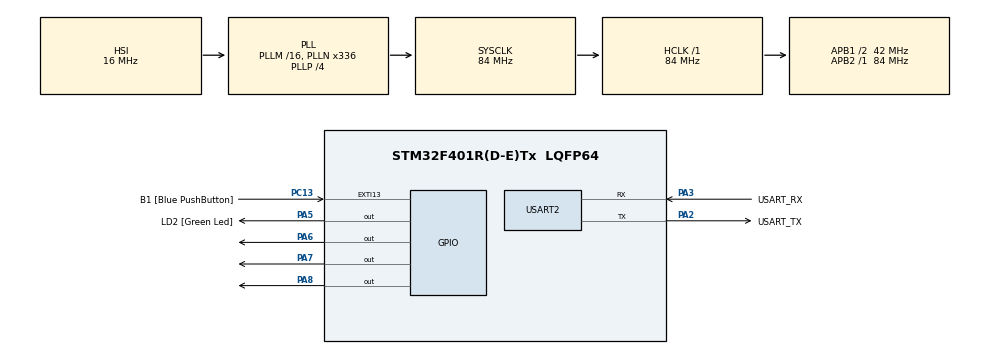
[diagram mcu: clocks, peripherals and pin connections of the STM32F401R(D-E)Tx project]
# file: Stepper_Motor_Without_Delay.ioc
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Mcu.Family=STM32F4
Mcu.Name=STM32F401R(D-E)Tx
Mcu.Package=LQFP64
NVIC.PriorityGroup=NVIC_PRIORITYGROUP_4
PA13.GPIO_Label=TMS
PA13.Mode=Trace_Asynchronous_SW
PA13.Signal=SYS_JTMS-SWDIO
PA14.GPIO_Label=TCK
PA14.Mode=Trace_Asynchronous_SW
PA14.Signal=SYS_JTCK-SWCLK
PA2.GPIO_Label=USART_TX
PA2.GPIO_Mode=GPIO_MODE_AF_PP
PA2.GPIO_PuPd=GPIO_NOPULL
PA2.GPIO_Speed=GPIO_SPEED_FREQ_LOW
PA2.Mode=Asynchronous
PA2.Signal=USART2_TX
PA3.GPIO_Label=USART_RX
PA3.GPIO_Mode=GPIO_MODE_AF_PP
PA3.GPIO_PuPd=GPIO_NOPULL
PA3.GPIO_Speed=GPIO_SPEED_FREQ_LOW
PA3.Mode=Asynchronous
PA3.Signal=USART2_RX
PA5.GPIO_Label=LD2 [Green Led]
PA5.GPIO_Mode=GPIO_MODE_OUTPUT_PP
PA5.GPIO_PuPd=GPIO_NOPULL
PA5.GPIO_Speed=GPIO_SPEED_FREQ_LOW
PA5.Signal=GPIO_Output
PA6.Signal=GPIO_Output
PA7.Signal=GPIO_Output
PA8.Signal=GPIO_Output
PB3.GPIO_Label=SWO
PB3.Mode=Trace_Asynchronous_SW
PB3.Signal=SYS_JTDO-SWO
PC13-ANTI_TAMP.GPIO_Label=B1 [Blue PushButton]
PC13-ANTI_TAMP.GPIO_ModeDefaultEXTI=GPIO_MODE_IT_FALLING
PC13-ANTI_TAMP.GPIO_PuPd=GPIO_NOPULL
PC13-ANTI_TAMP.Signal=GPXTI13
PC14-OSC32_IN.Mode=LSE-External-Oscillator
PC14-OSC32_IN.Signal=RCC_OSC32_IN
PC15-OSC32_OUT.Mode=LSE-External-Oscillator
PC15-OSC32_OUT.Signal=RCC_OSC32_OUT
PH0\ -\ OSC_IN.Mode=HSE-External-Clock-Source
PH0\ -\ OSC_IN.Signal=RCC_OSC_IN
PH1\ -\ OSC_OUT.Mode=HSE-External-Clock-Source
PH1\ -\ OSC_OUT.Signal=RCC_OSC_OUT
ProjectManager.HeapSize=0x200
ProjectManager.StackSize=0x400
ProjectManager.TargetToolchain=STM32CubeIDE
RCC.48MHZClocksFreq_Value=48000000
RCC.AHBFreq_Value=84000000
RCC.APB1CLKDivider=RCC_HCLK_DIV2
RCC.APB1Freq_Value=42000000
RCC.APB1TimFreq_Value=84000000
RCC.APB2Freq_Value=84000000
RCC.APB2TimFreq_Value=84000000
RCC.CortexFreq_Value=84000000
RCC.HCLKFreq_Value=84000000
RCC.HSE_VALUE=8000000
RCC.HSI_VALUE=16000000
RCC.PLLN=336
RCC.PLLP=RCC_PLLP_DIV4
RCC.PLLQ=7
RCC.SYSCLKFreq_VALUE=84000000
RCC.SYSCLKSource=RCC_SYSCLKSOURCE_PLLCLK
RCC.VCOOutputFreq_Value=336000000
TIM1.Period=999
TIM1.Prescaler=83
USART2.VirtualMode=VM_ASYNC
VP_TIM1_VS_ClockSourceINT.Mode=Internal
board=NUCLEO-F401RE

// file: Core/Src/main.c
/* USER CODE BEGIN Header */
/**
  ******************************************************************************
  * @file           : main.c
  * @brief          : Main program body
  ******************************************************************************
  * @attention
  *
  * Copyright (c) 2025 STMicroelectronics.
  * All rights reserved.
  *
  * This software is licensed under terms that can be found in the LICENSE file
  * in the root directory of this software component.
  * If no LICENSE file comes with this software, it is provided AS-IS.
  *
  ******************************************************************************
  */
/* USER CODE END Header */
#include "main.h"

TIM_HandleTypeDef htim1;

UART_HandleTypeDef huart2;

/* USER CODE BEGIN PV */
#define STEP_PIN GPIO_PIN_8
#define STEP_PORT GPIOA
#define DIR_PIN GPIO_PIN_6
#define DIR_PORT GPIOA
//#define ENA_PIN GPIO_PIN_7
//#define ENA_PORT GPIOA

//volatile uint32_t last_step_time = 0;
//volatile int step_delay = 500; // Step delay in microseconds (adjust for speed)
//volatile int step_count = 0;
//volatile int total_steps = 200;
//volatile int step_state = 0; // 0 = LOW, 1 = HIGH
//volatile int direction = 1;  // 1 = Forward, 0 = Backward
//volatile int is_running = 1; // Set to 0 to stop movement
/* USER CODE END PV */

void SystemClock_Config(void);
static void MX_GPIO_Init(void);
static void MX_USART2_UART_Init(void);
static void MX_TIM1_Init(void);

int main(void)
{

  /* MCU Configuration--------------------------------------------------------*/

  /* Reset of all peripherals, Initializes the Flash interface and the Systick. */
  HAL_Init();

  /* Configure the system clock */
  SystemClock_Config();

  /* Initialize all configured peripherals */
  MX_GPIO_Init();
  MX_USART2_UART_Init();
  MX_TIM1_Init();
  /* USER CODE BEGIN 2 */
  HAL_TIM_PWM_Start(&htim1, TIM_CHANNEL_1);
  /* USER CODE END 2 */

  /* Infinite loop */
  while (1)
  {

    /* USER CODE BEGIN 3 */
//	  if (step_count < total_steps) {
//	  HAL_GPIO_WritePin(DIR_PORT, DIR_PIN, direction ? GPIO_PIN_SET : GPIO_PIN_RESET);
//	  if ((HAL_GetTick() - last_step_time) >= (step_delay / 1000)) {
//		  last_step_time = HAL_GetTick();
//
//		  if (step_state == 0) {
//			  HAL_GPIO_WritePin(STEP_PORT, STEP_PIN, GPIO_PIN_SET); // Step HIGH
//			  step_state = 1;
//		  } else {
//			  HAL_GPIO_WritePin(STEP_PORT, STEP_PIN, GPIO_PIN_RESET); // Step LOW
//			  step_state = 0;
////			  step_count++;
//		  }
//	  }
//	  }
//	  } else {
//		  HAL_GPIO_WritePin(ENA_PORT, ENA_PIN, GPIO_PIN_SET);
//	  }

//	  if (step_count >= total_steps) {
////		  direction = !direction;
////		  HAL_GPIO_WritePin(DIR_PORT, DIR_PIN, direction ? GPIO_PIN_SET : GPIO_PIN_RESET);
////		  HAL_Delay(1000);
//		  step_count = 0;
//	  }

	 static int step_count = 0;
//	 static int total_steps = 200;
	 static uint32_t last_step_time = 0;
	 static int step_state = 0;
	 static int direction = 1;
	 int step_delay = 1;

	 HAL_GPIO_WritePin(DIR_PORT, DIR_PIN, direction ? GPIO_PIN_SET : GPIO_PIN_RESET);

	 if ((HAL_GetTick() - last_step_time) >= step_delay) {
		 last_step_time = HAL_GetTick();

		 if (step_state == 0) {
			 HAL_GPIO_WritePin(STEP_PORT, STEP_PIN, GPIO_PIN_SET); // Step HIGH
			 step_state = 1;
		 } else {
			 HAL_GPIO_WritePin(STEP_PORT, STEP_PIN, GPIO_PIN_RESET); // Step LOW
			 step_state = 0;
//			 step_count++;
		 }
	 }

//	 if (step_count >= total_steps) {
//		 direction = !direction;
//		 step_count = 0;
//		 HAL_Delay(1000);
//	 }
  }
  /* USER CODE END 3 */
}

void SystemClock_Config(void)
{
  RCC_OscInitTypeDef RCC_OscInitStruct = {0};
  RCC_ClkInitTypeDef RCC_ClkInitStruct = {0};

  /** Configure the main internal regulator output voltage
  */
  __HAL_RCC_PWR_CLK_ENABLE();
  __HAL_PWR_VOLTAGESCALING_CONFIG(PWR_REGULATOR_VOLTAGE_SCALE2);

  /** Initializes the RCC Oscillators according to the specified parameters
  * in the RCC_OscInitTypeDef structure.
  */
  RCC_OscInitStruct.OscillatorType = RCC_OSCILLATORTYPE_HSI;
  RCC_OscInitStruct.HSIState = RCC_HSI_ON;
  RCC_OscInitStruct.HSICalibrationValue = RCC_HSICALIBRATION_DEFAULT;
  RCC_OscInitStruct.PLL.PLLState = RCC_PLL_ON;
  RCC_OscInitStruct.PLL.PLLSource = RCC_PLLSOURCE_HSI;
  RCC_OscInitStruct.PLL.PLLM = 16;
  RCC_OscInitStruct.PLL.PLLN = 336;
  RCC_OscInitStruct.PLL.PLLP = RCC_PLLP_DIV4;
  RCC_OscInitStruct.PLL.PLLQ = 7;
  if (HAL_RCC_OscConfig(&RCC_OscInitStruct) != HAL_OK)
  {
    Error_Handler();
  }

  /** Initializes the CPU, AHB and APB buses clocks
  */
  RCC_ClkInitStruct.ClockType = RCC_CLOCKTYPE_HCLK|RCC_CLOCKTYPE_SYSCLK
                              |RCC_CLOCKTYPE_PCLK1|RCC_CLOCKTYPE_PCLK2;
  RCC_ClkInitStruct.SYSCLKSource = RCC_SYSCLKSOURCE_PLLCLK;
  RCC_ClkInitStruct.AHBCLKDivider = RCC_SYSCLK_DIV1;
  RCC_ClkInitStruct.APB1CLKDivider = RCC_HCLK_DIV2;
  RCC_ClkInitStruct.APB2CLKDivider = RCC_HCLK_DIV1;

  if (HAL_RCC_ClockConfig(&RCC_ClkInitStruct, FLASH_LATENCY_2) != HAL_OK)
  {
    Error_Handler();
  }
}

static void MX_TIM1_Init(void)
{

  TIM_ClockConfigTypeDef sClockSourceConfig = {0};
  TIM_MasterConfigTypeDef sMasterConfig = {0};

  htim1.Instance = TIM1;
  htim1.Init.Prescaler = 83;
  htim1.Init.CounterMode = TIM_COUNTERMODE_UP;
  htim1.Init.Period = 999;
  htim1.Init.ClockDivision = TIM_CLOCKDIVISION_DIV1;
  htim1.Init.RepetitionCounter = 0;
  htim1.Init.AutoReloadPreload = TIM_AUTORELOAD_PRELOAD_DISABLE;
  if (HAL_TIM_Base_Init(&htim1) != HAL_OK)
  {
    Error_Handler();
  }
  sClockSourceConfig.ClockSource = TIM_CLOCKSOURCE_INTERNAL;
  if (HAL_TIM_ConfigClockSource(&htim1, &sClockSourceConfig) != HAL_OK)
  {
    Error_Handler();
  }
  sMasterConfig.MasterOutputTrigger = TIM_TRGO_RESET;
  sMasterConfig.MasterSlaveMode = TIM_MASTERSLAVEMODE_DISABLE;
  if (HAL_TIMEx_MasterConfigSynchronization(&htim1, &sMasterConfig) != HAL_OK)
  {
    Error_Handler();
  }

}

static void MX_USART2_UART_Init(void)
{

  huart2.Instance = USART2;
  huart2.Init.BaudRate = 115200;
  huart2.Init.WordLength = UART_WORDLENGTH_8B;
  huart2.Init.StopBits = UART_STOPBITS_1;
  huart2.Init.Parity = UART_PARITY_NONE;
  huart2.Init.Mode = UART_MODE_TX_RX;
  huart2.Init.HwFlowCtl = UART_HWCONTROL_NONE;
  huart2.Init.OverSampling = UART_OVERSAMPLING_16;
  if (HAL_UART_Init(&huart2) != HAL_OK)
  {
    Error_Handler();
  }

}

static void MX_GPIO_Init(void)
{
  GPIO_InitTypeDef GPIO_InitStruct = {0};

  /* GPIO Ports Clock Enable */
  __HAL_RCC_GPIOC_CLK_ENABLE();
  __HAL_RCC_GPIOH_CLK_ENABLE();
  __HAL_RCC_GPIOA_CLK_ENABLE();
  __HAL_RCC_GPIOB_CLK_ENABLE();

  /*Configure GPIO pin Output Level */
  HAL_GPIO_WritePin(GPIOA, LD2_Pin|GPIO_PIN_6|GPIO_PIN_7|GPIO_PIN_8, GPIO_PIN_RESET);

  /*Configure GPIO pin : B1_Pin */
  GPIO_InitStruct.Pin = B1_Pin;
  GPIO_InitStruct.Mode = GPIO_MODE_IT_FALLING;
  GPIO_InitStruct.Pull = GPIO_NOPULL;
  HAL_GPIO_Init(B1_GPIO_Port, &GPIO_InitStruct);

  /*Configure GPIO pins : LD2_Pin PA6 PA7 PA8 */
  GPIO_InitStruct.Pin = LD2_Pin|GPIO_PIN_6|GPIO_PIN_7|GPIO_PIN_8;
  GPIO_InitStruct.Mode = GPIO_MODE_OUTPUT_PP;
  GPIO_InitStruct.Pull = GPIO_NOPULL;
  GPIO_InitStruct.Speed = GPIO_SPEED_FREQ_LOW;
  HAL_GPIO_Init(GPIOA, &GPIO_InitStruct);

}

void Error_Handler(void)
{
  __disable_irq();
  while (1)
  {
  }
}
